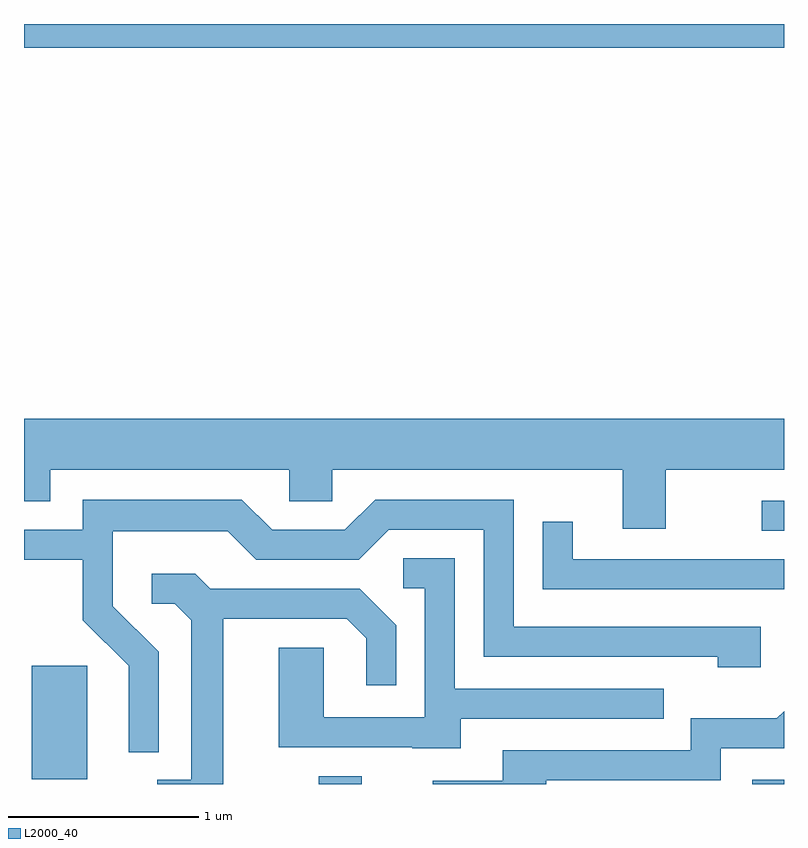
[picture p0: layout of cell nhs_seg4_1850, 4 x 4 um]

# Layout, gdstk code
import gdstk
lib = gdstk.Library(unit=1e-6, precision=1e-09)
def R(c, l, rs):  # rectangles x0, y0, x1, y1
    for r in rs: c.add(gdstk.rectangle(r[:2], r[2:], *l))
def P(c, l, *ps):  # polygons
    for p in ps: c.add(gdstk.Polygon(p, *l))
L2000_40 = (2000, 40)

nhs_seg4_1850 = lib.new_cell('nhs_seg4_1850')
R(nhs_seg4_1850, L2000_40, [(241.161,1281.982,241.389,1282.024), (243.443,1281.982,243.611,1282.004), (239.651,1282.006,239.944,1282.604), (243.493,1283.316,243.611,1283.474), (239.611,1285.856,243.611,1285.982)])
P(nhs_seg4_1850, L2000_40, [(242.989,1283.636),(243.611,1283.636),(243.611,1283.904),(239.611,1283.904),(239.611,1283.471),(239.749,1283.471),(239.749,1283.636),(241.006,1283.636),(241.006,1283.471),(241.234,1283.471),(241.234,1283.636),(242.761,1283.636),(242.761,1283.326),(242.989,1283.326)],
  [(240.319,1282.677),(240.079,1282.917),(240.079,1283.311),(240.684,1283.311),(240.834,1283.161),(241.372,1283.161),(241.532,1283.321),(242.031,1283.321),(242.031,1282.651),(243.261,1282.651),(243.261,1282.596),(243.489,1282.596),(243.489,1282.809),(242.189,1282.809),(242.189,1283.479),(241.459,1283.479),(241.299,1283.319),(240.917,1283.319),(240.757,1283.479),(239.921,1283.479),(239.921,1283.319),(239.611,1283.319),(239.611,1283.161),(239.921,1283.161),(239.921,1282.844),(240.161,1282.604),(240.161,1282.148),(240.319,1282.148)],
  [(243.611,1283.164),(242.499,1283.164),(242.499,1283.363),(242.341,1283.363),(242.341,1283.006),(243.611,1283.006)],
  [(241.909,1282.326),(242.978,1282.326),(242.978,1282.484),(241.879,1282.484),(241.879,1283.169),(241.608,1283.169),(241.608,1283.011),(241.721,1283.011),(241.721,1282.334),(241.189,1282.334),(241.189,1282.699),(240.951,1282.699),(240.951,1282.176),(241.655,1282.176),(241.655,1282.171),(241.909,1282.171)],
  [(240.659,1282.851),(241.309,1282.851),(241.411,1282.749),(241.411,1282.503),(241.569,1282.503),(241.569,1282.817),(241.377,1283.009),(240.592,1283.009),(240.512,1283.089),(240.283,1283.089),(240.283,1282.931),(240.404,1282.931),(240.491,1282.844),(240.491,1282.004),(240.313,1282.004),(240.313,1281.982),(240.659,1281.982)],
  [(242.359,1282.001),(243.279,1282.001),(243.279,1282.171),(243.611,1282.171),(243.611,1282.366),(243.574,1282.329),(243.121,1282.329),(243.121,1282.159),(242.131,1282.159),(242.131,1281.999),(241.763,1281.999),(241.763,1281.982),(242.359,1281.982)])

lib.write_gds('nhs_seg4_1850.gds')
